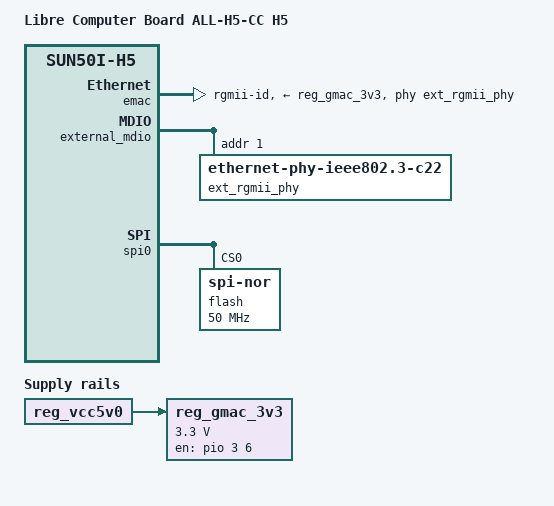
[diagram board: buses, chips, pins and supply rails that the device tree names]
// SPDX-License-Identifier: (GPL-2.0+ OR MIT)
// Copyright (C) 2020 Chen-Yu Tsai <wens@csie.org>

#include "sun50i-h5-libretech-all-h3-cc.dts"

/ {
	model = "Libre Computer Board ALL-H5-CC H5";
	compatible = "libretech,all-h5-cc-h5", "allwinner,sun50i-h5";

	aliases {
		spi0 = &spi0;
	};

	reg_gmac_3v3: gmac-3v3 {
		compatible = "regulator-fixed";
		regulator-name = "gmac-3v3";
		regulator-min-microvolt = <3300000>;
		regulator-max-microvolt = <3300000>;
		startup-delay-us = <5000>;
		enable-active-high;
		gpio = <&pio 3 6 GPIO_ACTIVE_HIGH>;
		vin-supply = <&reg_vcc5v0>;
	};
};

&codec {
	/* No line out; only onboard microphone */
	allwinner,audio-routing =
		"MIC1", "Mic",
		"Mic",  "MBIAS";
};

/* This board has external PHY */
&emac {
	pinctrl-names = "default";
	pinctrl-0 = <&emac_rgmii_pins>;
	phy-supply = <&reg_gmac_3v3>;
	phy-handle = <&ext_rgmii_phy>;
	phy-mode = "rgmii-id";
	/delete-property/ allwinner,leds-active-low;
	status = "okay";
};

&external_mdio {
	ext_rgmii_phy: ethernet-phy@1 {
		compatible = "ethernet-phy-ieee802.3-c22";
		reg = <1>;
	};
};

&spi0  {
	status = "okay";

	flash@0 {
		#address-cells = <1>;
		#size-cells = <1>;
		compatible = "jedec,spi-nor";
		reg = <0>;
		spi-max-frequency = <50000000>;
	};
};
